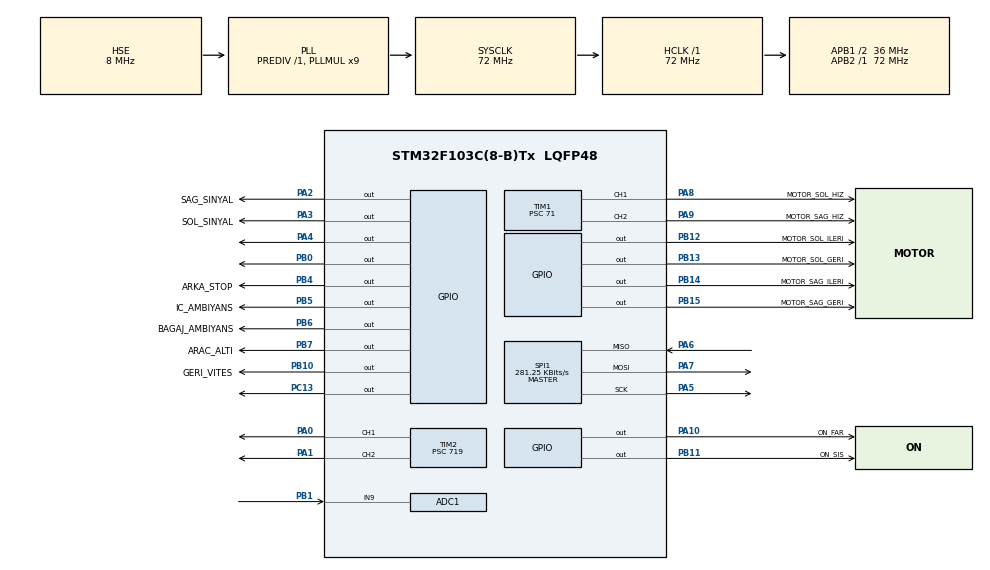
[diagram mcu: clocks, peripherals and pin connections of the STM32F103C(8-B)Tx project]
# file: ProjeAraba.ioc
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ADC1.Channel-0\#ChannelRegularConversion=ADC_CHANNEL_9
ADC1.NbrOfConversionFlag=1
ADC1.Rank-0\#ChannelRegularConversion=1
ADC1.SamplingTime-0\#ChannelRegularConversion=ADC_SAMPLETIME_1CYCLE_5
ADC1.master=1
IWDG.Prescaler=IWDG_PRESCALER_32
IWDG.Reload=1250
Mcu.Family=STM32F1
Mcu.Name=STM32F103C(8-B)Tx
Mcu.Package=LQFP48
NVIC.PriorityGroup=NVIC_PRIORITYGROUP_4
NVIC.TIM4_IRQn=true\:0\:0\:false\:false\:true\:true\:true\:true
PA0-WKUP.Signal=S_TIM2_CH1_ETR
PA1.Signal=S_TIM2_CH2
PA10.GPIO_Label=ON_FAR
PA10.Signal=GPIO_Output
PA13.Mode=Serial_Wire
PA13.Signal=SYS_JTMS-SWDIO
PA14.Mode=Serial_Wire
PA14.Signal=SYS_JTCK-SWCLK
PA2.GPIO_Label=SAG_SINYAL
PA2.Signal=GPIO_Output
PA3.GPIO_Label=SOL_SINYAL
PA3.Signal=GPIO_Output
PA4.PinState=GPIO_PIN_SET
PA4.Signal=GPIO_Output
PA5.Mode=Full_Duplex_Master
PA5.Signal=SPI1_SCK
PA6.Mode=Full_Duplex_Master
PA6.Signal=SPI1_MISO
PA7.Mode=Full_Duplex_Master
PA7.Signal=SPI1_MOSI
PA8.GPIO_Label=MOTOR_SOL_HIZ
PA8.Signal=S_TIM1_CH1
PA9.GPIO_Label=MOTOR_SAG_HIZ
PA9.Signal=S_TIM1_CH2
PB0.Signal=GPIO_Output
PB1.Signal=ADCx_IN9
PB10.GPIO_Label=GERI_VITES
PB10.Signal=GPIO_Output
PB11.GPIO_Label=ON_SIS
PB11.Signal=GPIO_Output
PB12.GPIO_Label=MOTOR_SOL_ILERI
PB12.Signal=GPIO_Output
PB13.GPIO_Label=MOTOR_SOL_GERI
PB13.Signal=GPIO_Output
PB14.GPIO_Label=MOTOR_SAG_ILERI
PB14.Signal=GPIO_Output
PB15.GPIO_Label=MOTOR_SAG_GERI
PB15.Signal=GPIO_Output
PB4.GPIO_Label=ARKA_STOP
PB4.Signal=GPIO_Output
PB5.GPIO_Label=IC_AMBIYANS
PB5.Signal=GPIO_Output
PB6.GPIO_Label=BAGAJ_AMBIYANS
PB6.Signal=GPIO_Output
PB7.GPIO_Label=ARAC_ALTI
PB7.Signal=GPIO_Output
PC13-TAMPER-RTC.Signal=GPIO_Output
PD0-OSC_IN.Mode=HSE-External-Oscillator
PD0-OSC_IN.Signal=RCC_OSC_IN
PD1-OSC_OUT.Mode=HSE-External-Oscillator
PD1-OSC_OUT.Signal=RCC_OSC_OUT
ProjectManager.HeapSize=0x200
ProjectManager.StackSize=0x400
ProjectManager.TargetToolchain=STM32CubeIDE
RCC.ADCPresc=RCC_ADCPCLK2_DIV6
RCC.AHBFreq_Value=72000000
RCC.APB1CLKDivider=RCC_HCLK_DIV2
RCC.APB1Freq_Value=36000000
RCC.APB1TimFreq_Value=72000000
RCC.APB2Freq_Value=72000000
RCC.APB2TimFreq_Value=72000000
RCC.HCLKFreq_Value=72000000
RCC.PLLMUL=RCC_PLL_MUL9
RCC.PLLSourceVirtual=RCC_PLLSOURCE_HSE
RCC.SYSCLKFreq_VALUE=72000000
RCC.SYSCLKSource=RCC_SYSCLKSOURCE_PLLCLK
RCC.USBFreq_Value=72000000
SH.ADCx_IN9.0=ADC1_IN9,IN9
SH.S_TIM1_CH1.0=TIM1_CH1,PWM Generation1 CH1
SH.S_TIM1_CH2.0=TIM1_CH2,PWM Generation2 CH2
SH.S_TIM2_CH1_ETR.0=TIM2_CH1,PWM Generation1 CH1
SH.S_TIM2_CH2.0=TIM2_CH2,PWM Generation2 CH2
SPI1.BaudRatePrescaler=SPI_BAUDRATEPRESCALER_256
SPI1.CalculateBaudRate=281.25 KBits/s
SPI1.Direction=SPI_DIRECTION_2LINES
SPI1.Mode=SPI_MODE_MASTER
SPI1.VirtualType=VM_MASTER
TIM1.Channel-PWM\ Generation1\ CH1=TIM_CHANNEL_1
TIM1.Channel-PWM\ Generation2\ CH2=TIM_CHANNEL_2
TIM1.Period=255
TIM1.Prescaler=71
TIM2.Channel-PWM\ Generation1\ CH1=TIM_CHANNEL_1
TIM2.Channel-PWM\ Generation2\ CH2=TIM_CHANNEL_2
TIM2.Period=1999
TIM2.Prescaler=719
TIM3.Prescaler=71
TIM4.Period=39
TIM4.Prescaler=71
VP_IWDG_VS_IWDG.Mode=IWDG_Activate
VP_TIM1_VS_ClockSourceINT.Mode=Internal
VP_TIM2_VS_ClockSourceINT.Mode=Internal
VP_TIM3_VS_ClockSourceINT.Mode=Internal
VP_TIM4_VS_ClockSourceINT.Mode=Internal
board=custom

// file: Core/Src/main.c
/* USER CODE BEGIN Header */
/**
 ******************************************************************************
 * @file           : main.c
 * @brief          : Main program body
 ******************************************************************************
 * @attention
 *
 * Copyright (c) 2026 STMicroelectronics.
 * All rights reserved.
 *
 * This software is licensed under terms that can be found in the LICENSE file
 * in the root directory of this software component.
 * If no LICENSE file comes with this software, it is provided AS-IS.
 *
 ******************************************************************************
 */
/* USER CODE END Header */
#include "main.h"

/* USER CODE BEGIN Includes */
#include <stdlib.h>
#include "NRF24.h"
#include "NRF24_reg_addresses.h"
/* USER CODE END Includes */

ADC_HandleTypeDef hadc1;

IWDG_HandleTypeDef hiwdg;

SPI_HandleTypeDef hspi1;

TIM_HandleTypeDef htim1;
TIM_HandleTypeDef htim2;
TIM_HandleTypeDef htim3;
TIM_HandleTypeDef htim4;

/* USER CODE BEGIN PV */

//KUMANDA İLE AYNI PAKET YAPISINA SAHİP STRUCT KISMININ KODU:
typedef struct __attribute__((packed)) {
	uint8_t guvenlikKodu;      // 1 Byte
	int16_t ileriGeri;         // 2 Byte
	int16_t sagSol;            // 2 Byte
	int16_t onAmortisor;       // 2 Byte
	int16_t arkaAmortisor;     // 2 Byte
	uint8_t isikDurumlari[9];  // 9 Byte
	uint8_t isikParlaklik[9];  // 9 Byte
	uint8_t ekstraButonlar;    // 1 Byte
	uint8_t bosluk[4];         // 4 Byte
} KumandaVerisi;               //TOPLAM 32 Byte

//KUMANDADAN GELEN VERİLERİN KISMININ KODLARI:
KumandaVerisi gelenPaket;
uint8_t RxAddress[] = { 0xEE, 0xDD, 0xCC, 0xBB, 0xAA };
uint32_t sonSinyalZamani = 0;

typedef struct {
	float aracPili;
} TelemetriVerisi;

TelemetriVerisi gidenTelemetri;
uint8_t TxAddress[] = { 0xEE, 0xDD, 0xCC, 0xBB, 0xAA };

//SÜSPANSİYON HAFIZA DEĞİŞKENLERİ:
int pwmOnHafiza = 150;
int pwmArkaHafiza = 150;
/* USER CODE END PV */

void SystemClock_Config(void);
static void MX_GPIO_Init(void);
static void MX_SPI1_Init(void);
static void MX_TIM1_Init(void);
static void MX_TIM2_Init(void);
static void MX_TIM3_Init(void);
static void MX_TIM4_Init(void);
static void MX_IWDG_Init(void);
static void MX_ADC1_Init(void);

int main(void) {

	/* MCU Configuration--------------------------------------------------------*/

	/* Reset of all peripherals, Initializes the Flash interface and the Systick. */
	HAL_Init();

	/* Configure the system clock */
	SystemClock_Config();

	/* Initialize all configured peripherals */
	MX_GPIO_Init();
	MX_SPI1_Init();
	MX_TIM1_Init();
	MX_TIM2_Init();
	MX_TIM3_Init();
	MX_TIM4_Init();
	MX_IWDG_Init();
	MX_ADC1_Init();
	/* USER CODE BEGIN 2 */
	__HAL_AFIO_REMAP_SWJ_NOJTAG();

	//VERİ AKTARIMINDAN EMİN OLMAK İÇİN PC13 LEDİ BAŞLANGIÇTA SÖNDÜRÜLÜR:
	HAL_GPIO_WritePin(GPIOC, GPIO_PIN_13, GPIO_PIN_SET);

	//MOTORLAR İÇİN PWM'NİN BAŞLADIĞI KISMIN KODU:
	HAL_TIM_Base_Start(&htim1);
	HAL_TIM_PWM_Start(&htim1, TIM_CHANNEL_1);
	HAL_TIM_PWM_Start(&htim1, TIM_CHANNEL_2);

	HAL_TIM_Base_Start(&htim2);
	HAL_TIM_PWM_Start(&htim2, TIM_CHANNEL_1);
	HAL_TIM_PWM_Start(&htim2, TIM_CHANNEL_2);

	HAL_TIM_Base_Start_IT(&htim4);

	//NRF24 ALICI RX YAPILANDIRMALARININ YAPILDIĞI KISMIN KODU:
	HAL_GPIO_WritePin(GPIOA, GPIO_PIN_4, GPIO_PIN_SET);
	HAL_Delay(50);

	nrf24_init();
	nrf24_tx_pwr(_0dbm);
	nrf24_data_rate(_1mbps);
	nrf24_set_channel(78);
	nrf24_set_crc(en_crc, _1byte);
	nrf24_pipe_pld_size(0, sizeof(KumandaVerisi));
	nrf24_auto_ack_all(1);

	nrf24_open_rx_pipe(0, RxAddress);
	nrf24_listen();
	/* USER CODE END 2 */

	/* Infinite loop */
	/* USER CODE BEGIN WHILE */
	uint32_t sonTelemetriZamani = 0;

	while (1) {
		/* USER CODE END WHILE */

		/* USER CODE BEGIN 3 */

				//KUMANDADAN GELEN VERİLERİN DİNLENDİĞİ KISMIN KODLARI:
				if (nrf24_data_available()) {

					//NRF24'ÜN ANLIK DURUMUNU KONTROL EDEN DEĞİŞKEN:
					uint8_t nrfDurum = nrf24_r_status();

					//ÇİPİN MANTIKLI DEĞERLER ÜRETTİĞİ ZAMAN İŞLENDİĞİ KISIM:
					if (nrfDurum != 0x00 && nrfDurum != 0xFF) {

						nrf24_receive((uint8_t*) &gelenPaket, sizeof(KumandaVerisi));

						//GELEN PAKETİN GÜVENLİK KODU 0x55 İSE İŞLEME GİREN KISIM:
						if (gelenPaket.guvenlikKodu == 0x55) {

							sonSinyalZamani = HAL_GetTick();
							HAL_GPIO_TogglePin(GPIOC, GPIO_PIN_13);

							//DİFERANSİYEL SÜRÜŞ HESAPLAMASI:
							int16_t solMotorHiz = gelenPaket.ileriGeri + gelenPaket.sagSol;
							int16_t sagMotorHiz = gelenPaket.ileriGeri - gelenPaket.sagSol;

							//MOTOR UYANMA EŞİĞİ:
							int16_t uyanmaEsigi = 50;

							if(solMotorHiz > 0) solMotorHiz += uyanmaEsigi;
							else if(solMotorHiz < 0) solMotorHiz -= uyanmaEsigi;

							if(sagMotorHiz > 0) sagMotorHiz += uyanmaEsigi;
							else if(sagMotorHiz < 0) sagMotorHiz -= uyanmaEsigi;

							//HIZ SINIRI:
							int16_t hizSiniri=220;

							if (solMotorHiz > hizSiniri) solMotorHiz = hizSiniri;
							if (solMotorHiz < -hizSiniri) solMotorHiz = -hizSiniri;
							if (sagMotorHiz > hizSiniri) sagMotorHiz = hizSiniri;
							if (sagMotorHiz < -hizSiniri) sagMotorHiz = -hizSiniri;

							//SOL MOTOR:
							if (solMotorHiz > 0) {
								HAL_GPIO_WritePin(GPIOB, MOTOR_SOL_ILERI_Pin, GPIO_PIN_SET);
								HAL_GPIO_WritePin(GPIOB, MOTOR_SOL_GERI_Pin, GPIO_PIN_RESET);
								__HAL_TIM_SET_COMPARE(&htim1, TIM_CHANNEL_1, solMotorHiz);
							} else if (solMotorHiz < 0) {
								HAL_GPIO_WritePin(GPIOB, MOTOR_SOL_ILERI_Pin, GPIO_PIN_RESET);
								HAL_GPIO_WritePin(GPIOB, MOTOR_SOL_GERI_Pin, GPIO_PIN_SET);
								__HAL_TIM_SET_COMPARE(&htim1, TIM_CHANNEL_1, -solMotorHiz);
							} else {
								HAL_GPIO_WritePin(GPIOB, MOTOR_SOL_ILERI_Pin, GPIO_PIN_RESET);
								HAL_GPIO_WritePin(GPIOB, MOTOR_SOL_GERI_Pin, GPIO_PIN_RESET);
								__HAL_TIM_SET_COMPARE(&htim1, TIM_CHANNEL_1, 0);
							}

							//SAĞ MOTOR:
							if (sagMotorHiz > 0) {
								HAL_GPIO_WritePin(GPIOB, MOTOR_SAG_ILERI_Pin, GPIO_PIN_SET);
								HAL_GPIO_WritePin(GPIOB, MOTOR_SAG_GERI_Pin, GPIO_PIN_RESET);
								__HAL_TIM_SET_COMPARE(&htim1, TIM_CHANNEL_2, sagMotorHiz);
							} else if (sagMotorHiz < 0) {
								HAL_GPIO_WritePin(GPIOB, MOTOR_SAG_ILERI_Pin, GPIO_PIN_RESET);
								HAL_GPIO_WritePin(GPIOB, MOTOR_SAG_GERI_Pin, GPIO_PIN_SET);
								__HAL_TIM_SET_COMPARE(&htim1, TIM_CHANNEL_2, -sagMotorHiz);
							} else {
								HAL_GPIO_WritePin(GPIOB, MOTOR_SAG_ILERI_Pin, GPIO_PIN_RESET);
								HAL_GPIO_WritePin(GPIOB, MOTOR_SAG_GERI_Pin, GPIO_PIN_RESET);
								__HAL_TIM_SET_COMPARE(&htim1, TIM_CHANNEL_2, 0);
							}
						}
					}
				}

				//ARAÇ PİLİNİN VOLTAJ DEĞERİNİN SANİYEDE 1 KERE OLMAK ÜZERE GÖNDERİLDİĞİ KISMIN KODLARI:

				if ((HAL_GetTick() - sonTelemetriZamani) > 1000) {

					//PİL DEĞERİNİN OKUNDUĞU KISMIN KODLARI:
					HAL_ADC_Start(&hadc1);
					if (HAL_ADC_PollForConversion(&hadc1, 5) == HAL_OK) {
						uint32_t adc_deger = HAL_ADC_GetValue(&hadc1);
						gidenTelemetri.aracPili = (adc_deger * 3.3f * (14.7f / 4.7f)) / 4095.0f;

						//HABERLEŞME MODUNUN DEĞİŞTİRİLİP ALICI MODDAN VERİCİ MODA GEÇİLDİĞİ KISMIN KODLARI:
						nrf24_stop_listen();
						nrf24_pipe_pld_size(0, sizeof(TelemetriVerisi));
						nrf24_open_tx_pipe(RxAddress);

						//PİL VOLTAJ DEĞERİNİN GÖNDERİLDİĞİ KISMIN KODU:
						nrf24_transmit((uint8_t*)&gidenTelemetri, sizeof(TelemetriVerisi));

						//PİL DEĞERİ GÖNDERİLDİKTEN SONRA HIZLICA TEKRARDAN ALICI MODA GEÇİLEN KISMIN KODLARI:
						nrf24_pipe_pld_size(0, sizeof(KumandaVerisi));
						nrf24_open_rx_pipe(0, RxAddress);
						nrf24_listen();
					}
					sonTelemetriZamani = HAL_GetTick();
				}

				//İLETİŞİM KESİLDİĞİ VAKİT KORUMA MODUNA GEÇİLEN KISMIN KODLARI:
				if ((HAL_GetTick() - sonSinyalZamani) > 300) {
					__HAL_TIM_SET_COMPARE(&htim1, TIM_CHANNEL_1, 0);
					__HAL_TIM_SET_COMPARE(&htim1, TIM_CHANNEL_2, 0);
					HAL_GPIO_WritePin(GPIOB,
							MOTOR_SOL_ILERI_Pin | MOTOR_SOL_GERI_Pin
									| MOTOR_SAG_ILERI_Pin | MOTOR_SAG_GERI_Pin,
							GPIO_PIN_RESET);
					HAL_GPIO_WritePin(GPIOC, GPIO_PIN_13, GPIO_PIN_SET);

					for (int i = 0; i < 9; i++) {
						gelenPaket.isikDurumlari[i] = 0;
					}

					pwmOnHafiza = 150;
					pwmArkaHafiza = 150;
					__HAL_TIM_SET_COMPARE(&htim2, TIM_CHANNEL_1, pwmOnHafiza);
					__HAL_TIM_SET_COMPARE(&htim2, TIM_CHANNEL_2, pwmArkaHafiza);
				}

				//SERVO KONTROLLERİNİN YAPILDIĞI KISMIN KODLARI:
				uint8_t amortisorKilitAcik = (gelenPaket.ekstraButonlar & (1 << 2));
				uint8_t amortisorAciSiniri = 20;

				if (amortisorKilitAcik) {
					pwmOnHafiza = 150 + ((gelenPaket.onAmortisor * amortisorAciSiniri) / 255);
					pwmArkaHafiza = 150 + ((gelenPaket.arkaAmortisor * amortisorAciSiniri) / 255);

					if (pwmOnHafiza > 150+amortisorAciSiniri) pwmOnHafiza = 150+amortisorAciSiniri;
					if (pwmOnHafiza < 150-amortisorAciSiniri) pwmOnHafiza = 150-amortisorAciSiniri;
					if (pwmArkaHafiza > 150+amortisorAciSiniri) pwmArkaHafiza = 150+amortisorAciSiniri;
					if (pwmArkaHafiza < 150-amortisorAciSiniri) pwmArkaHafiza = 150-amortisorAciSiniri;
				}

				__HAL_TIM_SET_COMPARE(&htim2, TIM_CHANNEL_1, pwmOnHafiza);
				__HAL_TIM_SET_COMPARE(&htim2, TIM_CHANNEL_2, pwmArkaHafiza);

				HAL_Delay(10);
				HAL_IWDG_Refresh(&hiwdg);

	}
	/* USER CODE END 3 */
}

void SystemClock_Config(void) {
	RCC_OscInitTypeDef RCC_OscInitStruct = { 0 };
	RCC_ClkInitTypeDef RCC_ClkInitStruct = { 0 };
	RCC_PeriphCLKInitTypeDef PeriphClkInit = { 0 };

	/** Initializes the RCC Oscillators according to the specified parameters
	 * in the RCC_OscInitTypeDef structure.
	 */
	RCC_OscInitStruct.OscillatorType = RCC_OSCILLATORTYPE_LSI
			| RCC_OSCILLATORTYPE_HSE;
	RCC_OscInitStruct.HSEState = RCC_HSE_ON;
	RCC_OscInitStruct.HSEPredivValue = RCC_HSE_PREDIV_DIV1;
	RCC_OscInitStruct.HSIState = RCC_HSI_ON;
	RCC_OscInitStruct.LSIState = RCC_LSI_ON;
	RCC_OscInitStruct.PLL.PLLState = RCC_PLL_ON;
	RCC_OscInitStruct.PLL.PLLSource = RCC_PLLSOURCE_HSE;
	RCC_OscInitStruct.PLL.PLLMUL = RCC_PLL_MUL9;
	if (HAL_RCC_OscConfig(&RCC_OscInitStruct) != HAL_OK) {
		Error_Handler();
	}

	/** Initializes the CPU, AHB and APB buses clocks
	 */
	RCC_ClkInitStruct.ClockType = RCC_CLOCKTYPE_HCLK | RCC_CLOCKTYPE_SYSCLK
			| RCC_CLOCKTYPE_PCLK1 | RCC_CLOCKTYPE_PCLK2;
	RCC_ClkInitStruct.SYSCLKSource = RCC_SYSCLKSOURCE_PLLCLK;
	RCC_ClkInitStruct.AHBCLKDivider = RCC_SYSCLK_DIV1;
	RCC_ClkInitStruct.APB1CLKDivider = RCC_HCLK_DIV2;
	RCC_ClkInitStruct.APB2CLKDivider = RCC_HCLK_DIV1;

	if (HAL_RCC_ClockConfig(&RCC_ClkInitStruct, FLASH_LATENCY_2) != HAL_OK) {
		Error_Handler();
	}
	PeriphClkInit.PeriphClockSelection = RCC_PERIPHCLK_ADC;
	PeriphClkInit.AdcClockSelection = RCC_ADCPCLK2_DIV6;
	if (HAL_RCCEx_PeriphCLKConfig(&PeriphClkInit) != HAL_OK) {
		Error_Handler();
	}
}

static void MX_ADC1_Init(void) {

	ADC_ChannelConfTypeDef sConfig = { 0 };

	/** Common config
	 */
	hadc1.Instance = ADC1;
	hadc1.Init.ScanConvMode = ADC_SCAN_DISABLE;
	hadc1.Init.ContinuousConvMode = DISABLE;
	hadc1.Init.DiscontinuousConvMode = DISABLE;
	hadc1.Init.ExternalTrigConv = ADC_SOFTWARE_START;
	hadc1.Init.DataAlign = ADC_DATAALIGN_RIGHT;
	hadc1.Init.NbrOfConversion = 1;
	if (HAL_ADC_Init(&hadc1) != HAL_OK) {
		Error_Handler();
	}

	/** Configure Regular Channel
	 */
	sConfig.Channel = ADC_CHANNEL_9;
	sConfig.Rank = ADC_REGULAR_RANK_1;
	sConfig.SamplingTime = ADC_SAMPLETIME_1CYCLE_5;
	if (HAL_ADC_ConfigChannel(&hadc1, &sConfig) != HAL_OK) {
		Error_Handler();
	}

}

static void MX_IWDG_Init(void) {

	hiwdg.Instance = IWDG;
	hiwdg.Init.Prescaler = IWDG_PRESCALER_32;
	hiwdg.Init.Reload = 1250;
	if (HAL_IWDG_Init(&hiwdg) != HAL_OK) {
		Error_Handler();
	}

}

static void MX_SPI1_Init(void) {

	/* SPI1 parameter configuration*/
	hspi1.Instance = SPI1;
	hspi1.Init.Mode = SPI_MODE_MASTER;
	hspi1.Init.Direction = SPI_DIRECTION_2LINES;
	hspi1.Init.DataSize = SPI_DATASIZE_8BIT;
	hspi1.Init.CLKPolarity = SPI_POLARITY_LOW;
	hspi1.Init.CLKPhase = SPI_PHASE_1EDGE;
	hspi1.Init.NSS = SPI_NSS_SOFT;
	hspi1.Init.BaudRatePrescaler = SPI_BAUDRATEPRESCALER_256;
	hspi1.Init.FirstBit = SPI_FIRSTBIT_MSB;
	hspi1.Init.TIMode = SPI_TIMODE_DISABLE;
	hspi1.Init.CRCCalculation = SPI_CRCCALCULATION_DISABLE;
	hspi1.Init.CRCPolynomial = 10;
	if (HAL_SPI_Init(&hspi1) != HAL_OK) {
		Error_Handler();
	}

}

static void MX_TIM1_Init(void) {

	TIM_ClockConfigTypeDef sClockSourceConfig = { 0 };
	TIM_MasterConfigTypeDef sMasterConfig = { 0 };
	TIM_OC_InitTypeDef sConfigOC = { 0 };
	TIM_BreakDeadTimeConfigTypeDef sBreakDeadTimeConfig = { 0 };

	htim1.Instance = TIM1;
	htim1.Init.Prescaler = 71;
	htim1.Init.CounterMode = TIM_COUNTERMODE_UP;
	htim1.Init.Period = 255;
	htim1.Init.ClockDivision = TIM_CLOCKDIVISION_DIV1;
	htim1.Init.RepetitionCounter = 0;
	htim1.Init.AutoReloadPreload = TIM_AUTORELOAD_PRELOAD_DISABLE;
	if (HAL_TIM_Base_Init(&htim1) != HAL_OK) {
		Error_Handler();
	}
	sClockSourceConfig.ClockSource = TIM_CLOCKSOURCE_INTERNAL;
	if (HAL_TIM_ConfigClockSource(&htim1, &sClockSourceConfig) != HAL_OK) {
		Error_Handler();
	}
	if (HAL_TIM_PWM_Init(&htim1) != HAL_OK) {
		Error_Handler();
	}
	sMasterConfig.MasterOutputTrigger = TIM_TRGO_RESET;
	sMasterConfig.MasterSlaveMode = TIM_MASTERSLAVEMODE_DISABLE;
	if (HAL_TIMEx_MasterConfigSynchronization(&htim1, &sMasterConfig)
			!= HAL_OK) {
		Error_Handler();
	}
	sConfigOC.OCMode = TIM_OCMODE_PWM1;
	sConfigOC.Pulse = 0;
	sConfigOC.OCPolarity = TIM_OCPOLARITY_HIGH;
	sConfigOC.OCNPolarity = TIM_OCNPOLARITY_HIGH;
	sConfigOC.OCFastMode = TIM_OCFAST_DISABLE;
	sConfigOC.OCIdleState = TIM_OCIDLESTATE_RESET;
	sConfigOC.OCNIdleState = TIM_OCNIDLESTATE_RESET;
	if (HAL_TIM_PWM_ConfigChannel(&htim1, &sConfigOC, TIM_CHANNEL_1)
			!= HAL_OK) {
		Error_Handler();
	}
	if (HAL_TIM_PWM_ConfigChannel(&htim1, &sConfigOC, TIM_CHANNEL_2)
			!= HAL_OK) {
		Error_Handler();
	}
	sBreakDeadTimeConfig.OffStateRunMode = TIM_OSSR_DISABLE;
	sBreakDeadTimeConfig.OffStateIDLEMode = TIM_OSSI_DISABLE;
	sBreakDeadTimeConfig.LockLevel = TIM_LOCKLEVEL_OFF;
	sBreakDeadTimeConfig.DeadTime = 0;
	sBreakDeadTimeConfig.BreakState = TIM_BREAK_DISABLE;
	sBreakDeadTimeConfig.BreakPolarity = TIM_BREAKPOLARITY_HIGH;
	sBreakDeadTimeConfig.AutomaticOutput = TIM_AUTOMATICOUTPUT_DISABLE;
	if (HAL_TIMEx_ConfigBreakDeadTime(&htim1, &sBreakDeadTimeConfig)
			!= HAL_OK) {
		Error_Handler();
	}
	HAL_TIM_MspPostInit(&htim1);

}

static void MX_TIM2_Init(void) {

	TIM_ClockConfigTypeDef sClockSourceConfig = { 0 };
	TIM_MasterConfigTypeDef sMasterConfig = { 0 };
	TIM_OC_InitTypeDef sConfigOC = { 0 };

	htim2.Instance = TIM2;
	htim2.Init.Prescaler = 719;
	htim2.Init.CounterMode = TIM_COUNTERMODE_UP;
	htim2.Init.Period = 1999;
	htim2.Init.ClockDivision = TIM_CLOCKDIVISION_DIV1;
	htim2.Init.AutoReloadPreload = TIM_AUTORELOAD_PRELOAD_DISABLE;
	if (HAL_TIM_Base_Init(&htim2) != HAL_OK) {
		Error_Handler();
	}
	sClockSourceConfig.ClockSource = TIM_CLOCKSOURCE_INTERNAL;
	if (HAL_TIM_ConfigClockSource(&htim2, &sClockSourceConfig) != HAL_OK) {
		Error_Handler();
	}
	if (HAL_TIM_PWM_Init(&htim2) != HAL_OK) {
		Error_Handler();
	}
	sMasterConfig.MasterOutputTrigger = TIM_TRGO_RESET;
	sMasterConfig.MasterSlaveMode = TIM_MASTERSLAVEMODE_DISABLE;
	if (HAL_TIMEx_MasterConfigSynchronization(&htim2, &sMasterConfig)
			!= HAL_OK) {
		Error_Handler();
	}
	sConfigOC.OCMode = TIM_OCMODE_PWM1;
	sConfigOC.Pulse = 0;
	sConfigOC.OCPolarity = TIM_OCPOLARITY_HIGH;
	sConfigOC.OCFastMode = TIM_OCFAST_DISABLE;
	if (HAL_TIM_PWM_ConfigChannel(&htim2, &sConfigOC, TIM_CHANNEL_1)
			!= HAL_OK) {
		Error_Handler();
	}
	if (HAL_TIM_PWM_ConfigChannel(&htim2, &sConfigOC, TIM_CHANNEL_2)
			!= HAL_OK) {
		Error_Handler();
	}
	HAL_TIM_MspPostInit(&htim2);

}

static void MX_TIM3_Init(void) {

	TIM_ClockConfigTypeDef sClockSourceConfig = { 0 };
	TIM_MasterConfigTypeDef sMasterConfig = { 0 };

	htim3.Instance = TIM3;
	htim3.Init.Prescaler = 71;
	htim3.Init.CounterMode = TIM_COUNTERMODE_UP;
	htim3.Init.Period = 65535;
	htim3.Init.ClockDivision = TIM_CLOCKDIVISION_DIV1;
	htim3.Init.AutoReloadPreload = TIM_AUTORELOAD_PRELOAD_DISABLE;
	if (HAL_TIM_Base_Init(&htim3) != HAL_OK) {
		Error_Handler();
	}
	sClockSourceConfig.ClockSource = TIM_CLOCKSOURCE_INTERNAL;
	if (HAL_TIM_ConfigClockSource(&htim3, &sClockSourceConfig) != HAL_OK) {
		Error_Handler();
	}
	sMasterConfig.MasterOutputTrigger = TIM_TRGO_RESET;
	sMasterConfig.MasterSlaveMode = TIM_MASTERSLAVEMODE_DISABLE;
	if (HAL_TIMEx_MasterConfigSynchronization(&htim3, &sMasterConfig)
			!= HAL_OK) {
		Error_Handler();
	}

}

static void MX_TIM4_Init(void) {

	TIM_ClockConfigTypeDef sClockSourceConfig = { 0 };
	TIM_MasterConfigTypeDef sMasterConfig = { 0 };

	htim4.Instance = TIM4;
	htim4.Init.Prescaler = 71;
	htim4.Init.CounterMode = TIM_COUNTERMODE_UP;
	htim4.Init.Period = 39;
	htim4.Init.ClockDivision = TIM_CLOCKDIVISION_DIV1;
	htim4.Init.AutoReloadPreload = TIM_AUTORELOAD_PRELOAD_DISABLE;
	if (HAL_TIM_Base_Init(&htim4) != HAL_OK) {
		Error_Handler();
	}
	sClockSourceConfig.ClockSource = TIM_CLOCKSOURCE_INTERNAL;
	if (HAL_TIM_ConfigClockSource(&htim4, &sClockSourceConfig) != HAL_OK) {
		Error_Handler();
	}
	sMasterConfig.MasterOutputTrigger = TIM_TRGO_RESET;
	sMasterConfig.MasterSlaveMode = TIM_MASTERSLAVEMODE_DISABLE;
	if (HAL_TIMEx_MasterConfigSynchronization(&htim4, &sMasterConfig)
			!= HAL_OK) {
		Error_Handler();
	}

}

static void MX_GPIO_Init(void) {
	GPIO_InitTypeDef GPIO_InitStruct = { 0 };

	/* GPIO Ports Clock Enable */
	__HAL_RCC_GPIOC_CLK_ENABLE();
	__HAL_RCC_GPIOD_CLK_ENABLE();
	__HAL_RCC_GPIOA_CLK_ENABLE();
	__HAL_RCC_GPIOB_CLK_ENABLE();

	/*Configure GPIO pin Output Level */
	HAL_GPIO_WritePin(GPIOC, GPIO_PIN_13, GPIO_PIN_RESET);

	/*Configure GPIO pin Output Level */
	HAL_GPIO_WritePin(GPIOA, SAG_SINYAL_Pin | SOL_SINYAL_Pin | ON_FAR_Pin,
			GPIO_PIN_RESET);

	/*Configure GPIO pin Output Level */
	HAL_GPIO_WritePin(GPIOA, GPIO_PIN_4, GPIO_PIN_SET);

	/*Configure GPIO pin Output Level */
	HAL_GPIO_WritePin(GPIOB,
			GPIO_PIN_0 | GERI_VITES_Pin | ON_SIS_Pin | MOTOR_SOL_ILERI_Pin
					| MOTOR_SOL_GERI_Pin | MOTOR_SAG_ILERI_Pin
					| MOTOR_SAG_GERI_Pin | ARKA_STOP_Pin | IC_AMBIYANS_Pin
					| BAGAJ_AMBIYANS_Pin | ARAC_ALTI_Pin, GPIO_PIN_RESET);

	/*Configure GPIO pin : PC13 */
	GPIO_InitStruct.Pin = GPIO_PIN_13;
	GPIO_InitStruct.Mode = GPIO_MODE_OUTPUT_PP;
	GPIO_InitStruct.Pull = GPIO_NOPULL;
	GPIO_InitStruct.Speed = GPIO_SPEED_FREQ_LOW;
	HAL_GPIO_Init(GPIOC, &GPIO_InitStruct);

	/*Configure GPIO pins : SAG_SINYAL_Pin SOL_SINYAL_Pin PA4 ON_FAR_Pin */
	GPIO_InitStruct.Pin = SAG_SINYAL_Pin | SOL_SINYAL_Pin | GPIO_PIN_4
			| ON_FAR_Pin;
	GPIO_InitStruct.Mode = GPIO_MODE_OUTPUT_PP;
	GPIO_InitStruct.Pull = GPIO_NOPULL;
	GPIO_InitStruct.Speed = GPIO_SPEED_FREQ_LOW;
	HAL_GPIO_Init(GPIOA, &GPIO_InitStruct);

	/*Configure GPIO pins : PB0 GERI_VITES_Pin ON_SIS_Pin MOTOR_SOL_ILERI_Pin
	 MOTOR_SOL_GERI_Pin MOTOR_SAG_ILERI_Pin MOTOR_SAG_GERI_Pin ARKA_STOP_Pin
	 IC_AMBIYANS_Pin BAGAJ_AMBIYANS_Pin ARAC_ALTI_Pin */
	GPIO_InitStruct.Pin = GPIO_PIN_0 | GERI_VITES_Pin | ON_SIS_Pin
			| MOTOR_SOL_ILERI_Pin | MOTOR_SOL_GERI_Pin | MOTOR_SAG_ILERI_Pin
			| MOTOR_SAG_GERI_Pin | ARKA_STOP_Pin | IC_AMBIYANS_Pin
			| BAGAJ_AMBIYANS_Pin | ARAC_ALTI_Pin;
	GPIO_InitStruct.Mode = GPIO_MODE_OUTPUT_PP;
	GPIO_InitStruct.Pull = GPIO_NOPULL;
	GPIO_InitStruct.Speed = GPIO_SPEED_FREQ_LOW;
	HAL_GPIO_Init(GPIOB, &GPIO_InitStruct);

}

/* USER CODE BEGIN 4 */
void HAL_TIM_PeriodElapsedCallback(TIM_HandleTypeDef *htim) {
	if (htim->Instance == TIM4) {
		static uint8_t pwmSayaci = 0;
		pwmSayaci++;

		//SİNYAL BLİNK PERİYODUNUN BELİRLENDİĞİ KISIM:
		uint8_t sinyalBlink = (HAL_GetTick() / 400) % 2;

		//KUMANDADAN GELEN AMERİKAN PARK BİLGİSİ KISMI:
		uint8_t amerikanParkAcik = (gelenPaket.ekstraButonlar & (1 << 4));

		//ÖN FAR KISMININ KODU:
		if(gelenPaket.isikDurumlari[0] && (pwmSayaci < gelenPaket.isikParlaklik[0]))
			HAL_GPIO_WritePin(ON_FAR_GPIO_Port, ON_FAR_Pin, GPIO_PIN_SET);
		else
			HAL_GPIO_WritePin(ON_FAR_GPIO_Port, ON_FAR_Pin, GPIO_PIN_RESET);

		//ÖN SİS KISMININ KODU:
		if (gelenPaket.isikDurumlari[1]
				&& (pwmSayaci < gelenPaket.isikParlaklik[1]))
			HAL_GPIO_WritePin(GPIOB, ON_SIS_Pin, GPIO_PIN_SET);
		else
			HAL_GPIO_WritePin(GPIOB, ON_SIS_Pin, GPIO_PIN_RESET);

		//SAĞ SİNYAL KISMININ KODU:
		uint8_t sagLedDurumu = 0;
		if (gelenPaket.isikDurumlari[2]) {
			sagLedDurumu = sinyalBlink;
		}                          // Sinyal butonu açıksa amerikan parklara nazaran önceliklidir.
		else if (amerikanParkAcik)
			sagLedDurumu = 1;      // Sinyal yok ama amerikan parklar açıksa sabit yanar.

		if (sagLedDurumu && (pwmSayaci < gelenPaket.isikParlaklik[2]))
			HAL_GPIO_WritePin(GPIOA, SAG_SINYAL_Pin, GPIO_PIN_SET);
		else
			HAL_GPIO_WritePin(GPIOA, SAG_SINYAL_Pin, GPIO_PIN_RESET);

		//SOL SİNYAL KISMININ KODU:
		uint8_t solLedDurumu = 0;
		if (gelenPaket.isikDurumlari[3]) {
			solLedDurumu = sinyalBlink;
		}                          // Sinyal butonu açıksa amerikan parklara nazaran önceliklidir.
		else if (amerikanParkAcik)
			solLedDurumu = 1;      // Sinyal yok ama amerikan parklar açıksa sabit yanar.

		if (solLedDurumu && (pwmSayaci < gelenPaket.isikParlaklik[3]))
			HAL_GPIO_WritePin(GPIOA, SOL_SINYAL_Pin, GPIO_PIN_SET);
		else
			HAL_GPIO_WritePin(GPIOA, SOL_SINYAL_Pin, GPIO_PIN_RESET);

		//İÇ AMBİYANS KISMININ KODU:
		if (gelenPaket.isikDurumlari[4]
				&& (pwmSayaci < gelenPaket.isikParlaklik[4]))
			HAL_GPIO_WritePin(GPIOB, IC_AMBIYANS_Pin, GPIO_PIN_SET);
		else
			HAL_GPIO_WritePin(GPIOB, IC_AMBIYANS_Pin, GPIO_PIN_RESET);

		//BAGAJ AMBİYANS KISMININ KODU:
		if (gelenPaket.isikDurumlari[5]
				&& (pwmSayaci < gelenPaket.isikParlaklik[5]))
			HAL_GPIO_WritePin(GPIOB, BAGAJ_AMBIYANS_Pin, GPIO_PIN_SET);
		else
			HAL_GPIO_WritePin(GPIOB, BAGAJ_AMBIYANS_Pin, GPIO_PIN_RESET);

		//ARKA STOP KISMININ KODU:
		if (gelenPaket.isikDurumlari[6]
				&& (pwmSayaci < gelenPaket.isikParlaklik[6]))
			HAL_GPIO_WritePin(GPIOB, ARKA_STOP_Pin, GPIO_PIN_SET);
		else
			HAL_GPIO_WritePin(GPIOB, ARKA_STOP_Pin, GPIO_PIN_RESET);

		//ARAÇ ALTI AYDINLATMA KISMININ KODU:
		if (gelenPaket.isikDurumlari[7]
				&& (pwmSayaci < gelenPaket.isikParlaklik[7]))
			HAL_GPIO_WritePin(GPIOB, ARAC_ALTI_Pin, GPIO_PIN_SET);
		else
			HAL_GPIO_WritePin(GPIOB, ARAC_ALTI_Pin, GPIO_PIN_RESET);

		//GERİ VİTES KISMININ KODU:
		if (gelenPaket.isikDurumlari[8]
				&& (pwmSayaci < gelenPaket.isikParlaklik[8]))
			HAL_GPIO_WritePin(GPIOB, GERI_VITES_Pin, GPIO_PIN_SET);
		else
			HAL_GPIO_WritePin(GPIOB, GERI_VITES_Pin, GPIO_PIN_RESET);
	}
}
/* USER CODE END 4 */

void Error_Handler(void) {
	__disable_irq();
	while (1) {
	}
}
